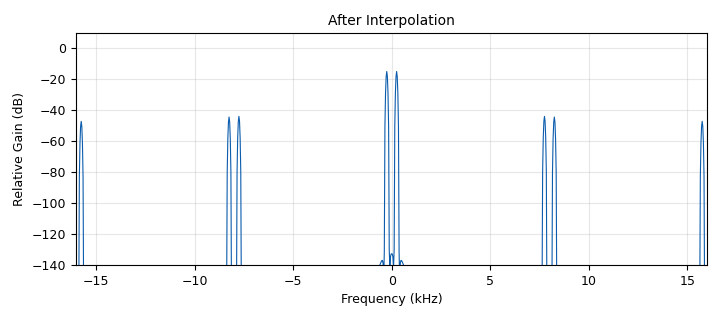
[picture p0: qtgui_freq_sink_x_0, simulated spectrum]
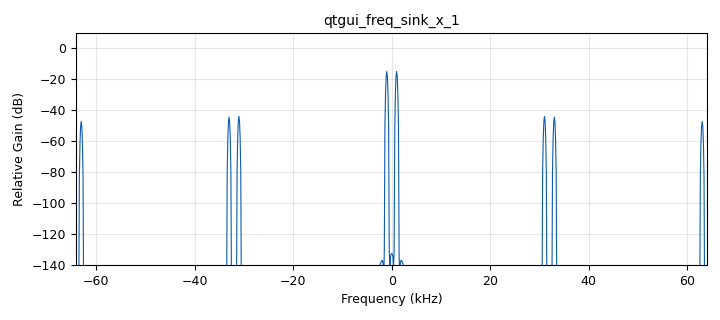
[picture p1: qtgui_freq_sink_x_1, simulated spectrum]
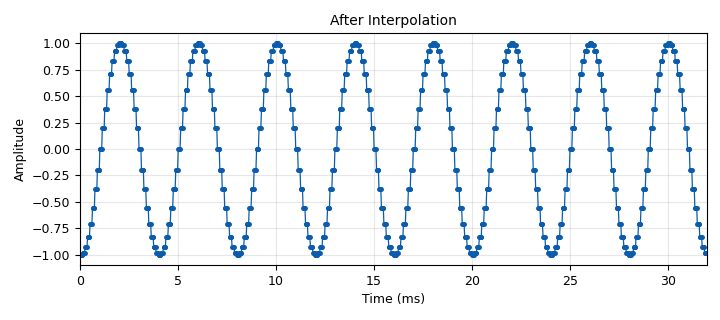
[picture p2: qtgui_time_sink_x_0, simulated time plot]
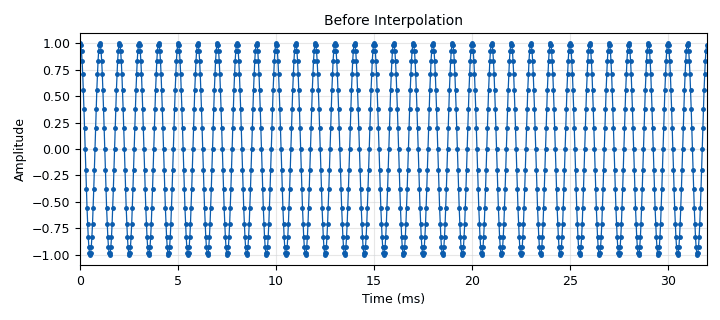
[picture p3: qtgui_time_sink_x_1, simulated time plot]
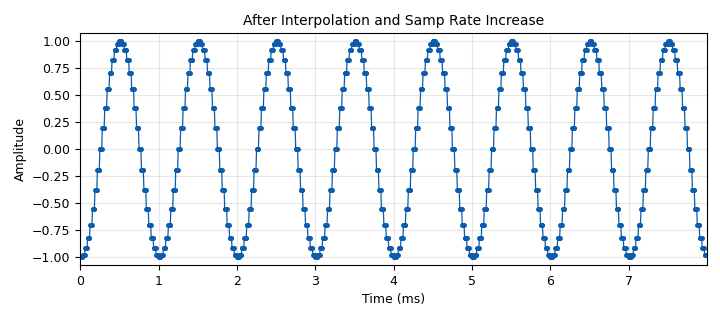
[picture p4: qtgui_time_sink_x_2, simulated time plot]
options:
  parameters:
    generate_options: qt_gui
    id: interpolation_samplerate_frequency
    output_language: python
    title: Not titled yet
  states: {}

blocks:
- name: samp_rate
  id: variable
  parameters:
    value: '32000'
  states: {}
- name: analog_sig_source_x_0
  id: analog_sig_source_x
  parameters:
    amp: '1'
    freq: '1000'
    offset: '0'
    phase: '0'
    samp_rate: samp_rate
    type: float
    waveform: analog.GR_COS_WAVE
  states: {}
- name: blocks_repeat_0
  id: blocks_repeat
  parameters:
    interp: '4'
    type: float
  states: {}
- name: blocks_throttle2_0
  id: blocks_throttle2
  parameters:
    samples_per_second: samp_rate
    type: float
  states: {}
- name: qtgui_freq_sink_x_0
  id: qtgui_freq_sink_x
  parameters:
    bw: samp_rate
    fc: '0'
    fftsize: '1024'
    gui_hint: 1,0
    name: '"After Interpolation"'
    type: float
  states: {}
- name: qtgui_freq_sink_x_1
  id: qtgui_freq_sink_x
  parameters:
    bw: samp_rate*4
    fc: '0'
    fftsize: '1024'
    gui_hint: 4,0
    type: float
  states: {}
- name: qtgui_time_sink_x_0
  id: qtgui_time_sink_x
  parameters:
    autoscale: 'True'
    ctrlpanel: 'True'
    gui_hint: 0,0
    marker1: '0'
    name: '"After Interpolation"'
    size: '1024'
    srate: samp_rate
    type: float
  states: {}
- name: qtgui_time_sink_x_1
  id: qtgui_time_sink_x
  parameters:
    autoscale: 'True'
    ctrlpanel: 'True'
    gui_hint: 2,0
    marker1: '0'
    name: '"Before Interpolation"'
    size: '1024'
    srate: samp_rate
    type: float
  states: {}
- name: qtgui_time_sink_x_2
  id: qtgui_time_sink_x
  parameters:
    ctrlpanel: 'True'
    gui_hint: 3,0
    marker1: '0'
    name: '"After Interpolation and Samp Rate Increase"'
    size: '1024'
    srate: samp_rate*4
    type: float
  states: {}
- name: virtual_sink_0
  id: virtual_sink
  parameters:
    stream_id: vsink1
  states: {}
- name: virtual_source_0
  id: virtual_source
  parameters:
    stream_id: vsink1
  states: {}

connections:
- [analog_sig_source_x_0, '0', blocks_throttle2_0, '0']
- [analog_sig_source_x_0, '0', qtgui_time_sink_x_1, '0']
- [blocks_repeat_0, '0', qtgui_freq_sink_x_0, '0']
- [blocks_repeat_0, '0', qtgui_time_sink_x_0, '0']
- [blocks_repeat_0, '0', virtual_sink_0, '0']
- [blocks_throttle2_0, '0', blocks_repeat_0, '0']
- [virtual_source_0, '0', qtgui_freq_sink_x_1, '0']
- [virtual_source_0, '0', qtgui_time_sink_x_2, '0']

metadata:
  file_format: 1
  grc_version: 3.10.6.0
